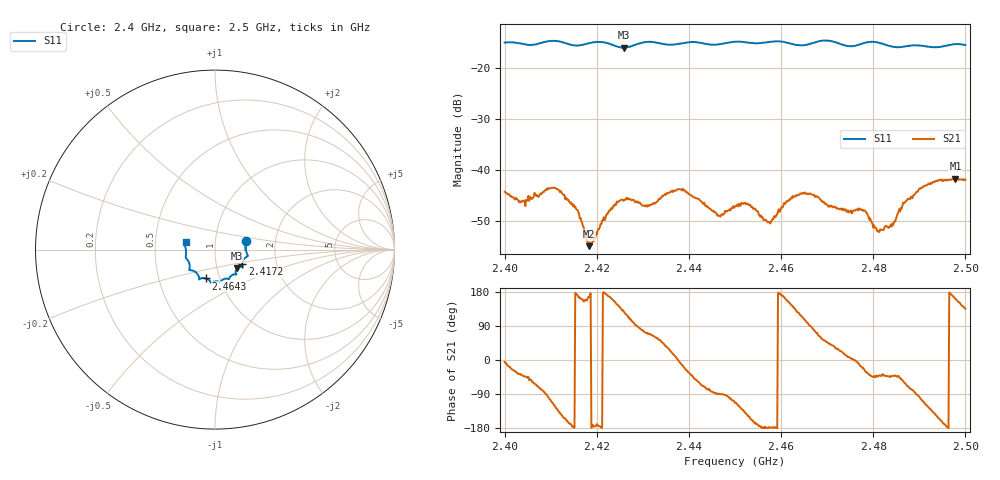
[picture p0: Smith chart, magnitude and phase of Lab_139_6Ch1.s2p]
# Hz S RI R 50
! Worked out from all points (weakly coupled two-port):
!   601 points, 2.4 GHz to 2.5 GHz, reference 50 ohm
!   highest |S21| = -41.64 dB at 2.4978 GHz (marker M1); lowest = -54.9 dB at 2.4183 GHz (marker M2)
!   lowest |S11| = -15.9 dB at 2.4258 GHz (marker M3), VSWR 1.38, Z = 62.3 - j13.2 ohm
!   |S11| at or under -10 dB: start of sweep to end of sweep
!   S12 and S22 are empty: the file has one direction only
!   S11 on the Smith chart (normalised r, x): 2.4 GHz: 1.41, +0.14; 2.4172 GHz: 1.34, -0.22; 2.4643 GHz: 0.86, -0.29; 2.5 GHz: 0.72, +0.06
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2.4e9  0.1727 0.0488  0.00612 -0.000499  0 0  0 0
2.404e9  0.172 0.0253  0.00372 -0.00333  0 0  0 0
2.411167e9  0.1826 -0.0357  -0.00398 -0.00522  0 0  0 0
2.416667e9  0.1528 -0.0738  -0.00297 0.00104  0 0  0 0
2.417167e9  0.1521 -0.0796  -0.00246 0.00119  0 0  0 0
2.418333e9  0.1525 -0.0903  -0.00174 0.00044  0 0  0 0
2.422667e9  0.1476 -0.0943  -0.00391 0.000874  0 0  0 0
2.425833e9  0.122 -0.1034  -0.00307 0.00393  0 0  0 0
2.433333e9  0.1131 -0.1373  0.00297 0.00412  0 0  0 0
2.438167e9  0.082 -0.1551  0.00643 -0.000868  0 0  0 0
2.4465e9  0.0443 -0.1666  6.54e-05 -0.00357  0 0  0 0
2.45e9  0.0288 -0.181  -0.00171 -0.00404  0 0  0 0
2.452833e9  0.0181 -0.1783  -0.00398 -0.00246  0 0  0 0
2.4575e9  -0.0165 -0.1814  -0.00307 -8.99e-05  0 0  0 0
2.464333e9  -0.0498 -0.161  -0.00268 0.00525  0 0  0 0
2.466667e9  -0.0757 -0.1595  0.000431 0.00575  0 0  0 0
2.477833e9  -0.134 -0.1153  0.00371 -0.00144  0 0  0 0
2.481e9  -0.143 -0.1091  0.00184 -0.00175  0 0  0 0
2.483333e9  -0.141 -0.0901  0.00198 -0.00185  0 0  0 0
2.490333e9  -0.1629 -0.0385  -0.00152 -0.00643  0 0  0 0
2.497833e9  -0.1704 0.0316  -0.00786 0.00259  0 0  0 0
2.5e9  -0.1641 0.0433  -0.00568 0.00567  0 0  0 0
